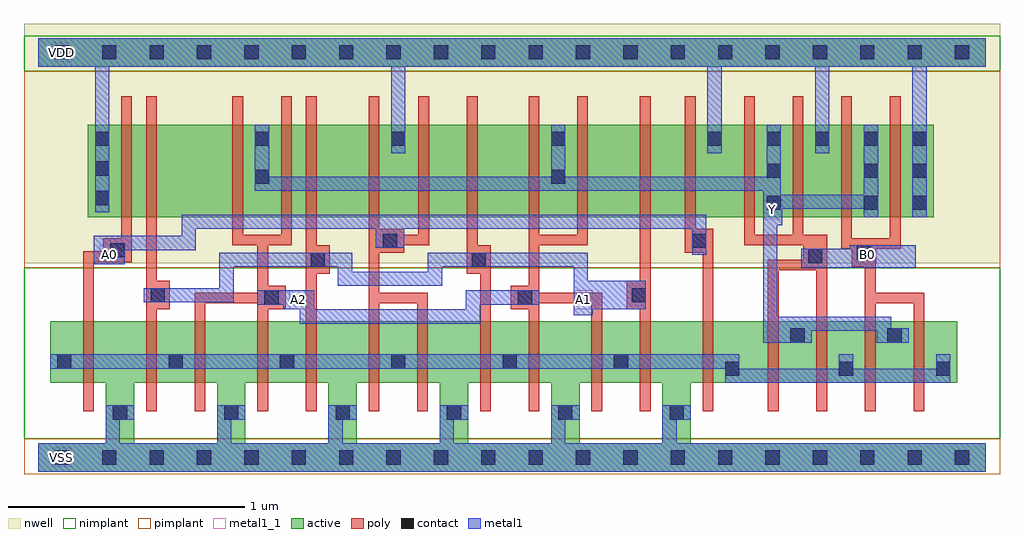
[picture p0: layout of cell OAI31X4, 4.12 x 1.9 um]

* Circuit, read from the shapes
.subckt OAI31X4 A0 A1 A2 B0 VDD VSS Y
M1 VSS A0 n1 VSS nfet w=0.26u l=0.045u m=4
M2 n1 A1 VSS VSS nfet w=0.26u l=0.045u m=4
M3 VSS A2 n1 VSS nfet w=0.26u l=0.045u m=4
M4 Y B0 n1 VSS nfet w=0.26u l=0.045u m=4
M5 n2 A0 VDD VDD pfet w=0.39u l=0.045u
M6 n3 A1 n2 VDD pfet w=0.39u l=0.045u
M7 Y A2 n3 VDD pfet w=0.39u l=0.045u
M8 n4 A2 Y VDD pfet w=0.39u l=0.045u
M9 n5 A1 n4 VDD pfet w=0.39u l=0.045u
M10 VDD A0 n5 VDD pfet w=0.39u l=0.045u
M11 n6 A0 VDD VDD pfet w=0.39u l=0.045u
M12 n7 A1 n6 VDD pfet w=0.39u l=0.045u
M13 Y A2 n7 VDD pfet w=0.39u l=0.045u
M14 n8 A2 Y VDD pfet w=0.39u l=0.045u
M15 n9 A1 n8 VDD pfet w=0.39u l=0.045u
M16 VDD A0 n9 VDD pfet w=0.39u l=0.045u
M17 Y B0 VDD VDD pfet w=0.39u l=0.045u m=4
.ends

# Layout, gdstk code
import gdstk
lib = gdstk.Library(unit=1e-6, precision=5e-10)
def R(c, l, rs):  # rectangles x0, y0, x1, y1
    for r in rs: c.add(gdstk.rectangle(r[:2], r[2:], *l))
def A(c, l, x, y, w, h, nx, ny, dx, dy):  # array of equal rectangles
    R(c, l, [(x+i*dx, y+j*dy, x+i*dx+w, y+j*dy+h) for i in range(nx) for j in range(ny)])
def P(c, l, *ps):  # polygons
    for p in ps: c.add(gdstk.Polygon(p, *l))
active = (1, 0)
nwell = (2, 0)
poly = (3, 0)
nimplant = (4, 0)
pimplant = (5, 0)
contact = (6, 0)
metal1 = (7, 0)
metal1_1 = (7, 1)

oai31x4 = lib.new_cell('OAI31X4')
R(oai31x4, active, [(0.21,1.015,3.78,1.405), (0,1.65,4,1.77)])
P(oai31x4, active, [(0.05,0.575),(3.88,0.575),(3.88,0.315),(2.755,0.315),(2.755,0.06),(4,0.06),(4,-0.06),(0,-0.06),(0,0.06),(0.285,0.06),(0.285,0.315),(0.405,0.315),(0.405,0.06),(0.755,0.06),(0.755,0.315),(0.875,0.315),(0.875,0.06),(1.225,0.06),(1.225,0.315),(1.345,0.315),(1.345,0.06),(1.695,0.06),(1.695,0.315),(1.815,0.315),(1.815,0.06),(2.165,0.06),(2.165,0.315),(2.285,0.315),(2.285,0.06),(2.635,0.06),(2.635,0.315),(0.05,0.315)])
R(oai31x4, nwell, [(-0.06,0.82,4.06,1.83)])
P(oai31x4, poly, [(0.35,1.525),(0.395,1.525),(0.395,0.825),(0.235,0.825),(0.235,0.195),(0.19,0.195),(0.19,0.87),(0.275,0.87),(0.275,0.925),(0.35,0.925)],
  [(0.455,1.525),(0.5,1.525),(0.5,0.745),(0.555,0.745),(0.555,0.625),(0.5,0.625),(0.5,0.195),(0.455,0.195)],
  [(0.82,1.525),(0.865,1.525),(0.865,0.94),(1.025,0.94),(1.025,1.525),(1.07,1.525),(1.07,0.895),(0.97,0.895),(0.97,0.725),(1.045,0.725),(1.045,0.625),(0.97,0.625),(0.97,0.195),(0.925,0.195),(0.925,0.65),(0.705,0.65),(0.705,0.195),(0.66,0.195),(0.66,0.695),(0.925,0.695),(0.925,0.895),(0.82,0.895)],
  [(1.13,1.525),(1.175,1.525),(1.175,0.895),(1.23,0.895),(1.23,0.775),(1.175,0.775),(1.175,0.195),(1.13,0.195)],
  [(1.395,1.525),(1.44,1.525),(1.44,0.965),(1.545,0.965),(1.545,0.94),(1.605,0.94),(1.605,1.525),(1.65,1.525),(1.65,0.895),(1.545,0.895),(1.545,0.865),(1.44,0.865),(1.44,0.695),(1.645,0.695),(1.645,0.195),(1.6,0.195),(1.6,0.65),(1.44,0.65),(1.44,0.195),(1.395,0.195)],
  [(1.81,1.525),(1.855,1.525),(1.855,0.895),(1.91,0.895),(1.91,0.195),(1.865,0.195),(1.865,0.775),(1.81,0.775)],
  [(2.07,1.525),(2.115,1.525),(2.115,0.94),(2.275,0.94),(2.275,1.525),(2.32,1.525),(2.32,0.895),(2.115,0.895),(2.115,0.695),(2.38,0.695),(2.38,0.195),(2.335,0.195),(2.335,0.65),(2.115,0.65),(2.115,0.195),(2.07,0.195),(2.07,0.625),(1.995,0.625),(1.995,0.725),(2.07,0.725)],
  [(2.54,1.525),(2.585,1.525),(2.585,0.195),(2.54,0.195),(2.54,0.625),(2.485,0.625),(2.485,0.745),(2.54,0.745)],
  [(2.73,1.525),(2.775,1.525),(2.775,0.965),(2.85,0.965),(2.85,0.195),(2.805,0.195),(2.805,0.865),(2.73,0.865)],
  [(2.98,1.525),(3.025,1.525),(3.025,0.94),(3.185,0.94),(3.185,1.525),(3.23,1.525),(3.23,0.94),(3.33,0.94),(3.33,0.195),(3.285,0.195),(3.285,0.79),(3.125,0.79),(3.125,0.195),(3.08,0.195),(3.08,0.835),(3.23,0.835),(3.23,0.895),(2.98,0.895)],
  [(3.39,1.525),(3.435,1.525),(3.435,0.925),(3.595,0.925),(3.595,1.525),(3.64,1.525),(3.64,0.88),(3.535,0.88),(3.535,0.695),(3.74,0.695),(3.74,0.195),(3.695,0.195),(3.695,0.65),(3.535,0.65),(3.535,0.195),(3.49,0.195),(3.49,0.805),(3.435,0.805),(3.435,0.88),(3.39,0.88)])
R(oai31x4, nimplant, [(-0.06,0.08,4.06,0.8), (-0.06,1.63,4.06,1.78)])
R(oai31x4, pimplant, [(-0.06,-0.07,4.06,0.08), (-0.06,0.8,4.06,1.63)])
A(oai31x4, contact, 0.07, -0.03, 0.06, 0.06, 20, 2, 0.2, 1.71)
A(oai31x4, contact, 0.315, 0.16, 0.06, 0.06, 6, 1, 0.47, 0)
A(oai31x4, contact, 0.08, 0.375, 0.06, 0.06, 6, 1, 0.47, 0)
A(oai31x4, contact, 0.24, 1.065, 0.06, 0.06, 1, 3, 0, 0.125)
A(oai31x4, contact, 3.075, 1.315, 0.06, 0.06, 4, 1, 0.205, 0)
R(oai31x4, contact, [(2.9,0.345,2.96,0.405), (3.38,0.345,3.44,0.405), (3.79,0.345,3.85,0.405), (3.175,0.485,3.235,0.545), (3.585,0.485,3.645,0.545), (0.955,0.645,1.015,0.705), (2.025,0.645,2.085,0.705), (0.475,0.655,0.535,0.715), (2.505,0.655,2.565,0.715), (1.15,0.805,1.21,0.865), (1.83,0.805,1.89,0.865), (3.25,0.82,3.31,0.88), (3.455,0.835,3.515,0.895), (0.305,0.845,0.365,0.905), (1.455,0.885,1.515,0.945), (2.76,0.885,2.82,0.945), (3.075,1.045,3.135,1.105), (3.485,1.045,3.545,1.105), (3.69,1.045,3.75,1.105), (0.915,1.155,0.975,1.215), (2.165,1.155,2.225,1.215), (3.075,1.18,3.135,1.24), (3.485,1.18,3.545,1.24), (3.69,1.18,3.75,1.24), (0.915,1.315,0.975,1.375), (1.49,1.315,1.55,1.375), (2.165,1.315,2.225,1.375), (2.825,1.315,2.885,1.375)])
P(oai31x4, metal1, [(0,1.77),(4,1.77),(4,1.65),(3.75,1.65),(3.75,1.015),(3.69,1.015),(3.69,1.65),(3.34,1.65),(3.34,1.285),(3.28,1.285),(3.28,1.65),(2.885,1.65),(2.885,1.285),(2.825,1.285),(2.825,1.65),(1.55,1.65),(1.55,1.285),(1.49,1.285),(1.49,1.65),(0.3,1.65),(0.3,1.035),(0.24,1.035),(0.24,1.65),(0,1.65)],
  [(0.915,1.405),(0.975,1.405),(0.975,1.185),(2.165,1.185),(2.165,1.405),(2.225,1.405),(2.225,1.185),(3.075,1.185),(3.075,1.405),(3.135,1.405),(3.135,1.11),(3.485,1.11),(3.485,1.405),(3.545,1.405),(3.545,1.015),(3.485,1.015),(3.485,1.05),(3.14,1.05),(3.14,0.98),(3.12,0.98),(3.12,0.595),(3.6,0.595),(3.6,0.545),(3.675,0.545),(3.675,0.485),(3.54,0.485),(3.54,0.535),(3.265,0.535),(3.265,0.485),(3.06,0.485),(3.06,1.125),(0.915,1.125)],
  [(0.605,1.025),(2.82,1.025),(2.82,0.855),(2.76,0.855),(2.76,0.965),(1.545,0.965),(1.545,0.885),(1.425,0.885),(1.425,0.965),(0.665,0.965),(0.665,0.875),(0.365,0.875),(0.365,0.815),(0.235,0.815),(0.235,0.935),(0.605,0.935)],
  [(0.765,0.865),(1.325,0.865),(1.325,0.785),(1.645,0.785),(1.645,0.865),(2.32,0.865),(2.32,0.745),(2.565,0.745),(2.565,0.625),(2.34,0.625),(2.34,0.6),(2.26,0.6),(2.26,0.805),(1.705,0.805),(1.705,0.725),(1.265,0.725),(1.265,0.805),(0.825,0.805),(0.825,0.655),(0.445,0.655),(0.445,0.715),(0.765,0.715)],
  [(0.925,0.705),(1.165,0.705),(1.165,0.625),(1.805,0.625),(1.805,0.705),(2.115,0.705),(2.115,0.645),(1.865,0.645),(1.865,0.565),(1.105,0.565),(1.105,0.625),(1.035,0.625),(1.035,0.645),(0.925,0.645)],
  [(3.425,0.895),(3.705,0.895),(3.705,0.8),(3.22,0.8),(3.22,0.88),(3.425,0.88)],
  [(0.05,0.435),(2.96,0.435),(2.96,0.375),(3.38,0.375),(3.38,0.435),(3.44,0.435),(3.44,0.375),(3.79,0.375),(3.79,0.435),(3.85,0.435),(3.85,0.315),(2.9,0.315),(2.9,0.375),(0.05,0.375)],
  [(0.285,0.22),(0.405,0.22),(0.405,0.16),(0.345,0.16),(0.345,0.06),(0.755,0.06),(0.755,0.22),(0.875,0.22),(0.875,0.16),(0.815,0.16),(0.815,0.06),(1.225,0.06),(1.225,0.22),(1.345,0.22),(1.345,0.16),(1.285,0.16),(1.285,0.06),(1.695,0.06),(1.695,0.22),(1.815,0.22),(1.815,0.16),(1.755,0.16),(1.755,0.06),(2.165,0.06),(2.165,0.22),(2.285,0.22),(2.285,0.16),(2.225,0.16),(2.225,0.06),(2.635,0.06),(2.635,0.22),(2.755,0.22),(2.755,0.16),(2.695,0.16),(2.695,0.06),(4,0.06),(4,-0.06),(0,-0.06),(0,0.06),(0.285,0.06)])
R(oai31x4, metal1_1, [(0.06,-0.04,0.14,0.04), (1.06,0.625,1.14,0.705), (2.26,0.625,2.34,0.705), (0.26,0.815,0.34,0.895), (3.46,0.815,3.54,0.895), (3.06,1.005,3.14,1.085), (0.06,1.67,0.14,1.75)])
oai31x4.add(gdstk.Label('Y', (3.1,1.045), layer=7, texttype=1))
oai31x4.add(gdstk.Label('B0', (3.5,0.855), layer=7, texttype=1))
oai31x4.add(gdstk.Label('A0', (0.3,0.855), layer=7, texttype=1))
oai31x4.add(gdstk.Label('A1', (2.3,0.665), layer=7, texttype=1))
oai31x4.add(gdstk.Label('A2', (1.1,0.665), layer=7, texttype=1))
oai31x4.add(gdstk.Label('VDD', (0.1,1.71), layer=7, texttype=1))
oai31x4.add(gdstk.Label('VSS', (0.1,0), layer=7, texttype=1))
oai31x4.add(gdstk.Label('OAI31X4', (0,0), layer=63, texttype=0))

lib.write_gds('OAI31X4.gds')
